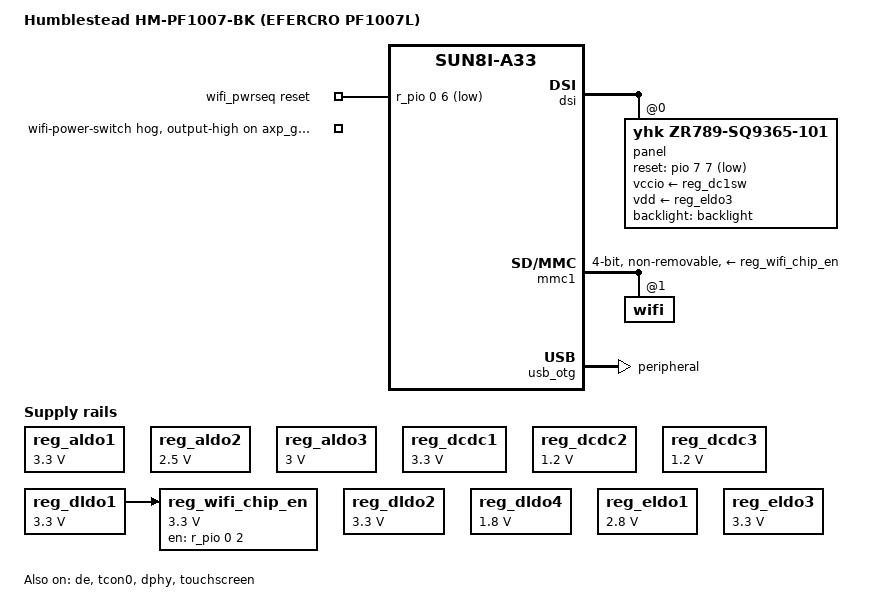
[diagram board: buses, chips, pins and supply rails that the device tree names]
// SPDX-License-Identifier: (GPL-2.0+ OR MIT)
/*
 * Humblestead HM-PF1007-BK digital photo frame.
 * Board: EFERCRO PF1007L_MB_V1.0. Vendor fex: [product] machine = "U708HC".
 * SoC: Allwinner A33. Panel: 10.1" 800x1280 MIPI-DSI (JD9365DA class).
 *
 * Buildroot compiles this file with the v7.2.10 kernel (BR2_LINUX_KERNEL_CUSTOM_DTS_DIR)
 * and post-image.sh puts the DTB on PFBOOT; extlinux boots every slot with it.
 * Panel, touch, Wi-Fi, PMIC and the USB gadget are proven on the frame (docs/log.md);
 * values marked UNCONFIRMED or TODO are not. docs/hardware.md has the board facts.
 *
 * Source of each value:
 *   [fex]  sys_config.fex of THIS frame (section and key are given)
 *   [pwr]  the vendor lcd.ko, read in disassembly, not measured
 *   [ref]  mainline sun8i-reference-design-tablet.dtsi value, NOT confirmed
 *          on this board ("UNCONFIRMED - reference design")
 *   [wifi] the vendor rf_pm / wifi_pm modules, read in disassembly, not measured
 *   [touch] the vendor gslX680new.ko, static analysis
 *   [cpu]  the vendor kernel and arisc firmware
 *   TODO   open point
 *
 * No serial console: UART0 is on the SD pins (PF2/PF4) and R_UART's PL2 is the Wi-Fi
 * chip-enable output. The console is the USB-C serial gadget (ttyGS0, extlinux.conf.in).
 * The eMMC (MMC2) stays disabled: Android lives there and the frame must stay recoverable
 * by removing the card (CLAUDE.md).
 */

/dts-v1/;
#include "sun8i-a33.dtsi"
#include "sun8i-reference-design-tablet.dtsi"

#include <dt-bindings/gpio/gpio.h>
#include <dt-bindings/interrupt-controller/irq.h>

/ {
	model = "Humblestead HM-PF1007-BK (EFERCRO PF1007L)";
	/* "efercro" is a PLACEHOLDER vendor prefix (not in vendor-prefixes.yaml). */
	compatible = "efercro,pf1007l", "allwinner,sun8i-a33";

	aliases {
		mmc0 = &mmc0;	/* MicroSD */
		mmc1 = &mmc1;	/* SDIO Wi-Fi */
		mmc2 = &mmc2;	/* eMMC */
		/*
		 * The reference dtsi sets serial0 = &r_uart (PL2/PL3). On this
		 * board PL2 is an output of the Wi-Fi power code
		 * ([fex] [rf_para] chip_en = PL02) and [s_uart0] s_uart_used = 0.
		 * Do not put a UART there.
		 */
		/delete-property/ serial0;
	};

	/*
	 * Console. The vendor console was ttyS0 = UART0, 115200. UART0 is on
	 * PF2/PF4, the SD-card pins, so there is NO serial console and no
	 * stdout-path. Do not put console=ttyS0 on the command line: no UART
	 * probes, so the name has no device.
	 */
	chosen {
		/delete-property/ stdout-path;
	};

	/*
	 * Wi-Fi power, vendor order [wifi]:
	 *   kernel boot: DLDO1 on, DLDO2 on, AXP GPIO0 = 1
	 *   Wi-Fi on:    PL2 (chip_en) = 1, wait, PL6 (wl_reg_on) = 1
	 * The two pins are active high ([fex] [rf_para] chip_en = PL02,
	 * [wifi_para] wl_reg_on = PL06, both outputs, default 0).
	 *
	 * The wait between PL2 and PL6: two readings of the same vendor loop
	 * (5 x const_udelay(0x066665b0)) gave 5 ms and about 125 ms.
	 * The constant is 1000 * ((2199023 * HZ) >> 11) with HZ = 100, which
	 * is udelay(1000) on 32-bit ARM. The vendor kernel has CONFIG_HZ=100
	 * (its own embedded config). So the loop is mdelay(5) = 5 ms.
	 * The 150 ms below is longer than the two readings. It is safe for the
	 * 125 ms reading. It is safe for the 5 ms reading if the chip has
	 * only a MINIMUM time between the two pins (UNCONFIRMED, no datasheet).
	 *
	 * "mmc-pwrseq-simple" sets all its reset GPIOs in one call, so it
	 * cannot make this wait. PL2 is thus a fixed regulator with a start-up
	 * delay, and it is the vmmc supply of the SDIO host. The MMC core
	 * turns on vmmc (PL2 high, 150 ms), then vqmmc, waits 10 ms, and then
	 * runs the pwrseq (PL6 high, post-power-on delay).
	 */
	reg_wifi_chip_en: regulator-wifi-chip-en {
		compatible = "regulator-fixed";
		regulator-name = "wifi-chip-en";
		regulator-min-microvolt = <3300000>;
		regulator-max-microvolt = <3300000>;
		gpio = <&r_pio 0 2 GPIO_ACTIVE_HIGH>; /* PL2 */
		enable-active-high;
		startup-delay-us = <150000>;
		vin-supply = <&reg_dldo1>;
	};

	wifi_pwrseq: pwrseq {
		compatible = "mmc-pwrseq-simple";
		/* "reset" is the opposite of "enable": ACTIVE_LOW. */
		reset-gpios = <&r_pio 0 6 GPIO_ACTIVE_LOW>; /* PL6 wl_reg_on */
		/*
		 * GUESS. The vendor kernel has no wait after PL6. 200 ms is the
		 * value of the mainline Q8 tablets. The AIC driver needs the
		 * card on the bus before it loads.
		 */
		post-power-on-delay-ms = <200>;
	};
};

/* ------------------------------------------------------------------ */
/* CPU                                                                */
/* ------------------------------------------------------------------ */

/*
 * CPU supply [cpu]: the vendor kernel (sunxi_cpufreq, "axp22_dcdc3") and
 * the vendor arisc firmware (DVFS writes AXP register 0x23) use DCDC3 for
 * the CPU. DCDC2 is the system / DDR-frequency rail. This is VERIFIED in the
 * two binaries of this frame. It is NOT measured on the board.
 * sun8i-reference-design-tablet.dtsi has cpu-supply = DCDC2: wrong for this
 * board, so the property is removed below.
 *
 * No cpu-supply: cpufreq changes the frequency only. DCDC2 and DCDC3 stay
 * at 1.2 V (the fex boot value, [power_sply]). 1.2 V is the voltage of the
 * highest OPP in sun8i-a33.dtsi (1.008 GHz) and of [fex] [dvfs_table] LV4.
 * All lower OPPs are safe at 1.2 V. The cost is more heat at low frequency.
 * This is safe if DCDC3 is the CPU rail, and also if it is not.
 * TODO: cpu-supply = <&reg_dcdc3> with a 1.04 to 1.20 V range once a check on
 * the frame shows AXP register 0x23 follows the CPU frequency and 0x22 does not.
 */
&cpu0 {
	/delete-property/ cpu-supply;
};

/* ------------------------------------------------------------------ */
/* Display: DE -> TCON0 -> DSI -> panel                               */
/* ------------------------------------------------------------------ */

/*
 * Backlight. Overrides the reference node.
 * [fex] [lcd0_para] lcd_pwm_ch = 0, [pwm0_para] PH00.
 * [fex] lcd_pwm_freq = 50000 Hz -> period = 1e9 / 50000 = 20000 ns.
 * [fex] lcd_pwm_pol = 0 -> normal polarity (BSP pwm-sunxi.c:
 *       PWM_POLARITY_NORMAL = active high). The reference dtsi has
 *       50000 ns and PWM_POLARITY_INVERTED: not valid for this board.
 * [fex] lcd_bl_en = PH06, output, value 1 -> active high.
 * [ref] brightness-levels, default-brightness-level, power-supply.
 *       ([fex] [disp_init] lcd0_backlight = 197 of 255 = 77 %.)
 */
&backlight {
	pwms = <&pwm 0 20000 0>;
	enable-gpios = <&pio 7 6 GPIO_ACTIVE_HIGH>; /* PH6 */
};

&de {
	status = "okay";
};

/*
 * No pinctrl: the DSI lanes are dedicated pins. tcon0_out endpoint@1 -> dsi
 * is in sun8i-a33.dtsi. There is no endpoint@0 (RGB/LVDS): sun4i_rgb_init()
 * then prints "No panel or bridge found... RGB output disabled" and returns 0.
 */
&tcon0 {
	status = "okay";
};

&dphy {
	status = "okay";
};

&dsi {
	/*
	 * TODO: the regulator that feeds the SoC pin VCC-DSI is NOT known.
	 * Placeholder = DCDC1 (always on), from the example in the binding
	 * allwinner,sun6i-a31-mipi-dsi.yaml (A33, dsi@1ca0000). Candidates on
	 * this board: DCDC1, DC1SW (lcd_power), ELDO3 (lcd_power1).
	 */
	vcc-dsi-supply = <&reg_dcdc1>;
	status = "okay";

	panel@0 {
		/*
		 * PLACEHOLDER compatible, from [fex] lcd_driver_name =
		 * "yhk_zr789_sq9365_101". Needs patches/linux/0001-drm-panel-*.patch.
		 */
		compatible = "yhk,zr789-sq9365-101", "jadard,jd9365da-h3";
		reg = <0>;
		/*
		 * [fex] lcd_power = "axp22_dc1sw", lcd_power1 = "axp22_eldo3".
		 * [pwr] the vendor turns on DC1SW, waits 10 ms, turns on ELDO3.
		 * Off: ELDO3, then DC1SW.
		 * The driver turns on "vccio" first, then "vdd", and turns them
		 * off in the opposite order. This mapping gives the vendor
		 * order. Which rail is the electrical VDD and which is VCCIO is
		 * NOT known (both are 3.3 V in the fex). TODO: schematic or
		 * meter.
		 */
		vccio-supply = <&reg_dc1sw>;
		vdd-supply = <&reg_eldo3>;
		/*
		 * [fex] lcd_gpio_0 = PH07, output, value 1.
		 * [pwr] the vendor code holds the pin at 1 to run and pulses it
		 * to 0 for a reset -> active low.
		 */
		reset-gpios = <&pio 7 7 GPIO_ACTIVE_LOW>; /* PH7 */
		backlight = <&backlight>;
		/* The panel is 800x1280 (portrait). The frame stands in landscape. */
		rotation = <90>;
	};
};

/* ------------------------------------------------------------------ */
/* Touch: Silead GSL on TWI0                                          */
/* ------------------------------------------------------------------ */

/*
 * The reference dtsi gives: i2c0 at 400 kHz, touchscreen@40, INT PB5
 * (falling edge), power-gpios PH1. The fex agrees:
 * [fex] [ctp_para] ctp_twi_id = 0, ctp_twi_addr = 0x40,
 *       ctp_int_port = PB05, ctp_wakeup = PH01 (output, value 1),
 *       ctp_power_ldo = "axp22_ldoio1", ctp_power_ldo_vol = 3300.
 * [touch] ctp_name = "gsl_m86_hd" selects table entry 4 of the vendor
 *       module. tfctl touchfw extracts its firmware array from the frame's
 *       own Android image as gsl_m86_hd.fw (36960 bytes, mainline silead
 *       layout) and installs it under /usr/lib/firmware/silead/. The driver
 *       stops its probe if the file is absent.
 * [touch] Chip model: NOT proved, best estimate GSL1680. silead.c uses the
 *       same code for all "silead,gsl*" names when firmware-name is set.
 * [touch] Size 960 x 640 = 15 x 10 sensor lines x 64: UNCONFIRMED. The fex
 *       values (1024 x 600, revert X and Y) describe the output of the
 *       vendor point library, not the raw range, so they are NOT used here.
 * No swap and no inversion here: tfctl maps the axes (docs/hardware.md).
 * [touch] silead,max-fingers = 5 (vendor limit). The v7.2.10 driver does
 *       not read the property; the binding permits it.
 * avdd and vddio: the fex gives one LDO. Which chip pin it feeds is not
 * known. The driver enables the two supplies together.
 */
&touchscreen {
	compatible = "silead,gsl1680";
	reg = <0x40>;
	firmware-name = "gsl_m86_hd.fw";
	avdd-supply = <&reg_ldo_io1>;
	vddio-supply = <&reg_ldo_io1>;
	touchscreen-size-x = <960>;
	touchscreen-size-y = <640>;
	silead,max-fingers = <5>;
	status = "okay";
};

/* ------------------------------------------------------------------ */
/* Accelerometer on TWI1: Silan SC7A20 (verified by I2C scan)         */
/* ------------------------------------------------------------------ */

/*
 * [fex] [gsensor_para] gsensor_twi_id = 1, gsensor_twi_addr = 0x19,
 *       gsensor_int1 = PB06.
 * [fex] [gsensor_list_para] (auto-detect list): stk831x, sc7a20, mir3da, msa.
 * Android's sensors HAL names this device "sc7a20 detect Accelerometer".
 * A test boot bound the stock st_accel_i2c driver at 0x19 and produced all
 * three raw IIO axes. Disabled until the axes are calibrated and tfctl has
 * a use for them. No interrupt is needed for a raw-read test.
 */
&i2c1 {
	accelerometer@19 {
		compatible = "silan,sc7a20";
		reg = <0x19>;
		status = "disabled";
	};
};

/* ------------------------------------------------------------------ */
/* Storage                                                            */
/* ------------------------------------------------------------------ */

/*
 * MicroSD. The reference dtsi already has: vmmc = DCDC1, 4-bit, cd PB4.
 * [fex] [mmc0_para] sdc_buswidth = 4, sdc_det = PB04,
 *       sdc_power_supply = "axp22_dcdc1". The fex agrees.
 * [ref] card-detect polarity (active low).
 * [fex] [uart_para] the debug UART0 is on PF2/PF4 = SD CLK and SD D3.
 *       UART0 and the SD card cannot be used at the same time.
 */

/*
 * SDIO Wi-Fi (AIC8800DC; no mainline driver; the out-of-tree driver in
 * package/aic8800 binds by SDIO ID and reads no DT property).
 * [fex] [wifi_para] wifi_sdc_id = 1. [mmc1_para] PG00-PG05, 4-bit,
 *       sdc_detmode = 4 (no card-detect pin).
 * [fex] [rf_para] module_power1 = "axp22_dldo1" 3.3 V,
 *       module_power2 = "axp22_dldo2" 3.3 V.
 * Which rail is the IO supply is NOT known. See the power note at the
 * wifi_pwrseq node and at reg_dldo1 / reg_dldo2.
 * keep-power-in-suspend: the AIC driver returns -EINVAL from its suspend
 * hook without MMC_PM_KEEP_POWER.
 * [fex] wl_host_wake = PL07 (input). Not used: the driver build uses the
 * in-band SDIO interrupt.
 */
&mmc1 {
	pinctrl-names = "default";
	pinctrl-0 = <&mmc1_pg_pins>;
	vmmc-supply = <&reg_wifi_chip_en>;	/* PL2, fed from DLDO1 */
	vqmmc-supply = <&reg_dldo2>;
	mmc-pwrseq = <&wifi_pwrseq>;
	bus-width = <4>;
	non-removable;
	keep-power-in-suspend;
	status = "okay";

	wifi: wifi@1 {
		reg = <1>;
	};
};

/*
 * eMMC. Android is on it. DISABLED: the frame boots from SD only and must
 * stay recoverable by removing the card (CLAUDE.md).
 * [fex] [mmc2_para] sdc_buswidth = 8, PC05/PC06/PC08-PC15, emmc_rst = PC16,
 *       sdc_power_supply = "axp22_dcdc1".
 * [fex] [mmc2_para] sdc_used = 0 in the stored fex. The vendor bootloader
 *       probably sets it when it boots from eMMC (UNCONFIRMED).
 * [fex] [card2_boot_para] card_line = 4: the boot code uses 4 bits.
 * Another PF1007L unit had a U-Boot hang at 8 bits. If it is ever read
 * and shows I/O errors: bus-width = <4>; max-frequency = <26000000>.
 */
&mmc2 {
	pinctrl-names = "default";
	pinctrl-0 = <&mmc2_8bit_pins>;
	vmmc-supply = <&reg_dcdc1>;
	bus-width = <8>;
	non-removable;
	cap-mmc-hw-reset;
	status = "disabled";
};

/* ------------------------------------------------------------------ */
/* PMIC: AXP22x on RSB                                                */
/* ------------------------------------------------------------------ */

/*
 * [fex] [pmu1_para] pmu_used = 1, [s_rsb0] s_rsb_used = 1, PL00/PL01.
 * The reference dtsi gives "x-powers,axp223" at RSB address 0x3a3.
 * TODO: the fex says "axp22" only. AXP223 is the RSB part of the family,
 * but read the chip marking or the kernel log to confirm.
 *
 * The frame gets its power FROM the USB host. It must not drive VBUS.
 * "x-powers,drive-vbus-en" makes axp20x-regulator.c set the N_VBUSEN pin
 * to an output (axp20x-regulator.c:1730-1733), so remove it.
 * [fex] [pmu1_para] pmu_vbusen_func = 1 ("as an input" in the BSP fex
 * comments) agrees, but that value is also in the BSP file of a board that
 * does drive VBUS, so it is weak evidence.
 */
&axp22x {
	/delete-property/ x-powers,drive-vbus-en;
	/delete-property/ drivevbus-supply;
};

&reg_drivevbus {
	status = "disabled";
};

/*
 * [fex] [rf_para] power_switch = port:power0<1><0>: AXP GPIO0, output.
 * [wifi] the vendor kernel sets it to 1 at boot (rf_pm_probe) and keeps
 * it. What it switches on the PCB is NOT known. Pin 0 of the
 * "x-powers,axp221-gpio" controller is GPIO0 (pinctrl-axp209.c).
 * reg_ldo_io0 (the LDO function of the same pin) stays disabled.
 */
&axp_gpio {
	wifi-power-switch-hog {
		gpio-hog;
		gpios = <0 GPIO_ACTIVE_HIGH>;
		output-high;
		line-name = "wifi-power-switch";
	};
};

/* [fex] [power_sply] aldo1_vol = 3300. ([ref] has 3.0 V.) */
&reg_aldo1 {
	regulator-always-on;
	regulator-min-microvolt = <3300000>;
	regulator-max-microvolt = <3300000>;
	regulator-name = "vcc-io";
};

/* [fex] [power_sply] aldo2_vol = 2500. */
&reg_aldo2 {
	regulator-always-on;
	regulator-min-microvolt = <2500000>;
	regulator-max-microvolt = <2500000>;
	regulator-name = "vdd-dll";
};

/* [fex] [power_sply] aldo3_vol = 3000. */
&reg_aldo3 {
	regulator-always-on;
	regulator-min-microvolt = <3000000>;
	regulator-max-microvolt = <3000000>;
	regulator-name = "vcc-pll-avcc";
};

/*
 * [fex] [power_sply] dc1sw_vol = 3300 (a switch after DCDC1).
 * [fex] [lcd0_para] lcd_power = "axp22_dc1sw".
 * [pwr] the vendor waits 10 ms after DC1SW on, before ELDO3 on. The enable
 *       delay below gives the same wait (pattern: sun50i-a64-pinetab.dts).
 */
&reg_dc1sw {
	regulator-name = "vcc-lcd";
	regulator-enable-ramp-delay = <10000>;
};

/* [fex] [power_sply] dcdc1_vol = 3300. ([ref] has 3.0 V.) */
&reg_dcdc1 {
	regulator-always-on;
	regulator-min-microvolt = <3300000>;
	regulator-max-microvolt = <3300000>;
	regulator-name = "vcc-3v3";
};

/*
 * [fex] [power_sply] dcdc2_vol = 1200. Always fixed at 1.2 V.
 * [cpu] the vendor uses DCDC2 as the system rail (sunxi_ddrfreq).
 */
&reg_dcdc2 {
	regulator-always-on;
	regulator-min-microvolt = <1200000>;
	regulator-max-microvolt = <1200000>;
	regulator-name = "vdd-sys";
};

/*
 * [fex] [power_sply] dcdc3_vol = 1200. [cpu] the vendor CPU rail.
 * Fixed at 1.2 V until cpu-supply is proven (see the CPU note).
 */
&reg_dcdc3 {
	regulator-always-on;
	regulator-min-microvolt = <1200000>;
	regulator-max-microvolt = <1200000>;
	regulator-name = "vdd-cpu";
};

/* [fex] [power_sply] dcdc5_vol = 1500. Same as [ref]. */

/*
 * [fex] [rf_para] module_power1 = "axp22_dldo1", 3300000 uV.
 * [fex] [rf_para] module_power2 = "axp22_dldo2", 3300000 uV.
 * [wifi] the vendor kernel turns on the two rails at boot, before PL2 and
 * PL6, and does not turn them off in the Wi-Fi on/off code. always-on
 * gives the same order (pattern: sun8i-r16-bananapi-m2m.dts, same rails).
 */
&reg_dldo1 {
	regulator-always-on;
	regulator-min-microvolt = <3300000>;
	regulator-max-microvolt = <3300000>;
	regulator-name = "vcc-wifi0";
};

&reg_dldo2 {
	regulator-always-on;
	regulator-min-microvolt = <3300000>;
	regulator-max-microvolt = <3300000>;
	regulator-name = "vcc-wifi1";
};

/*
 * [fex] [power_sply] dldo4_val = 1800. The consumer is NOT known. Not
 * always-on. If a device is dead under mainline, test regulator-always-on
 * here.
 */
&reg_dldo4 {
	regulator-min-microvolt = <1800000>;
	regulator-max-microvolt = <1800000>;
	regulator-name = "dldo4-1v8";
};

/* [fex] [power_sply] eldo1_vol = 2800. Consumer NOT known. Not always-on. */
&reg_eldo1 {
	regulator-min-microvolt = <2800000>;
	regulator-max-microvolt = <2800000>;
	regulator-name = "eldo1-2v8";
};

/*
 * [fex] [power_sply] eldo3_vol = 3300.
 * [fex] [lcd0_para] lcd_power1 = "axp22_eldo3".
 */
&reg_eldo3 {
	regulator-min-microvolt = <3300000>;
	regulator-max-microvolt = <3300000>;
	regulator-name = "vcc-lcd-1";
};

/*
 * Kept from [ref] with no change: dc5ldo "vdd-cpus" (0.9-1.4 V, the fex has
 * no value), dcdc5 "vcc-dram" 1.5 V, ldo_io1 "vcc-touchscreen" 3.3 V
 * (= [fex] ctp_power_ldo), rtc_ldo, eldoin-supply = DCDC1,
 * ac_power_supply, battery_power_supply ([fex] pmu_battery_cap = 0: the
 * frame probably has no battery, UNCONFIRMED), LRADC volume keys.
 */

/* ------------------------------------------------------------------ */
/* Audio: disabled until a separate, SD-safe test is available.       */
/* ------------------------------------------------------------------ */

/*
 * [fex] [audio0] says audio is present and the speaker amplifier enable
 * is PH09. Android confirms the A33 codec drives the board speaker. A PH09
 * GPIO hog was tried in a separate DTB and that boot lost its microSD root
 * device. A future audio test must start from this known-good DTB and prove
 * its pinmux does not affect storage.
 */
&dai {
	status = "disabled";
};

&codec {
	status = "disabled";
};

&sound {
	status = "disabled";
};

/* ------------------------------------------------------------------ */
/* Serial                                                             */
/* ------------------------------------------------------------------ */

/*
 * The reference dtsi enables r_uart on PL2/PL3. See the aliases note.
 * PL2 is the Wi-Fi chip_en output on this board. With r_uart disabled and
 * its pinctrl removed, the only user of PL2 in this file is the Wi-Fi power
 * node, and PL3 has no user. U-Boot keeps the same rule: its console UART
 * gets no pins at all (image/uboot, CONFIG_SUNXI_CONSOLE_NO_PINMUX).
 */
&r_uart {
	/delete-property/ pinctrl-names;
	/delete-property/ pinctrl-0;
	status = "disabled";
};

/* ------------------------------------------------------------------ */
/* USB: one USB-C port. The host gives the power. Device mode only.   */
/* ------------------------------------------------------------------ */

/*
 * [fex] [usbc0] usb_port_type = 2 (OTG), usb_id_gpio = PH08,
 *       usb_det_vbus_gpio = "axp_ctrl", usb_drv_vbus_gpio = power4 (AXP).
 * The fex is a generic OTG tablet configuration. The frame is a peripheral:
 * no ID detection, no VBUS drive (the USB-C cable to the Mac is the console
 * and the fallback network, docs/update-and-ssh.md).
 * [fex] usb_det_vbus_gpio = "axp_ctrl" agrees with
 *       usb0_vbus_power-supply = <&usb_power_supply> in the reference dtsi.
 */
&usb_otg {
	dr_mode = "peripheral";
};

&usbphy {
	/delete-property/ usb0_id_det-gpios;
	/delete-property/ usb0_vbus-supply;
};
